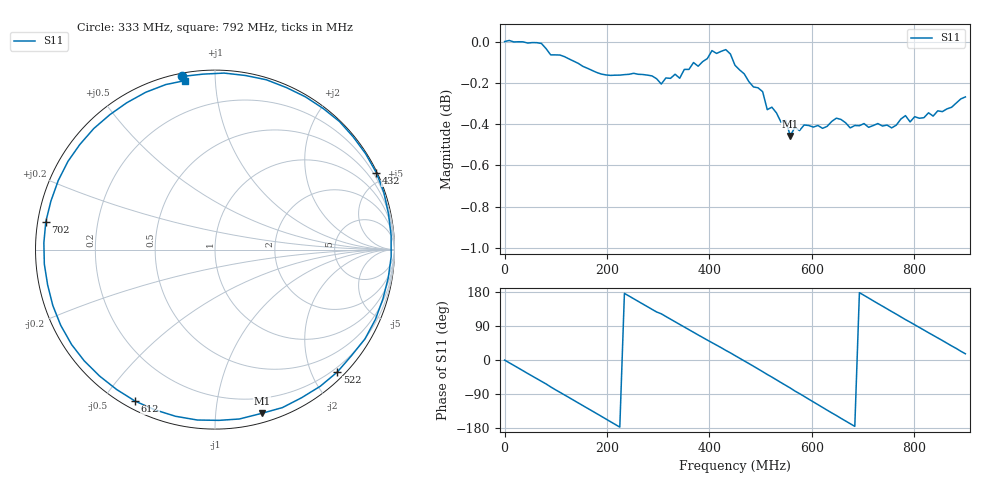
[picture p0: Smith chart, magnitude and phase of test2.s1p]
# HZ S RI R 50
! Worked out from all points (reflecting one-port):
!   101 points, 50 kHz to 900 MHz, reference 50 ohm
!   lowest |S11| = -0.5 dB at 558 MHz (marker M1), VSWR 38.06, Z = 3.63 - j66.3 ohm
!   phase of S11 starts at -0 deg and turns -703 deg over the sweep
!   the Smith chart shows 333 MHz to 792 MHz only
!   S11 on the Smith chart (normalised r, x): 333 MHz: 0.02, +0.83; 432 MHz: 0.04, +4.44; 522 MHz: 0.12, -2.40; 612 MHz: 0.03, -0.60; 702 MHz: 0.02, +0.08; 792 MHz: 0.04, +0.84
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50000  1 -0.00583
2.70485e7  0.932 -0.3628
6.30465e7  0.6511 -0.7585
9.0045e7  0.3231 -0.9388
1.170435e8  -0.0379 -0.9911
1.62041e8  -0.5994 -0.7821
1.98039e8  -0.8955 -0.4024
2.250375e8  -0.9804 -0.0497
2.70035e8  -0.8298 0.525
2.970335e8  -0.5853 0.7855
3.330315e8  -0.1854 0.9644
3.42031e8  -0.0668 0.9776
3.870285e8  0.5039 0.8511
4.32026e8  0.8998 0.4264
4.50025e8  0.9665 0.2004
4.86023e8  0.9357 -0.2747
5.22021e8  0.6808 -0.6827
5.58019e8  0.2623 -0.9118
5.670185e8  0.1355 -0.9437
6.12016e8  -0.4452 -0.8441
6.48014e8  -0.7988 -0.5293
6.750125e8  -0.9324 -0.1971
7.02011e8  -0.9426 0.1557
7.470085e8  -0.6755 0.6745
7.92006e8  -0.1648 0.9419
8.190045e8  0.1826 0.9409
8.46003e8  0.5052 0.8189
9e8  0.9303 0.2736
